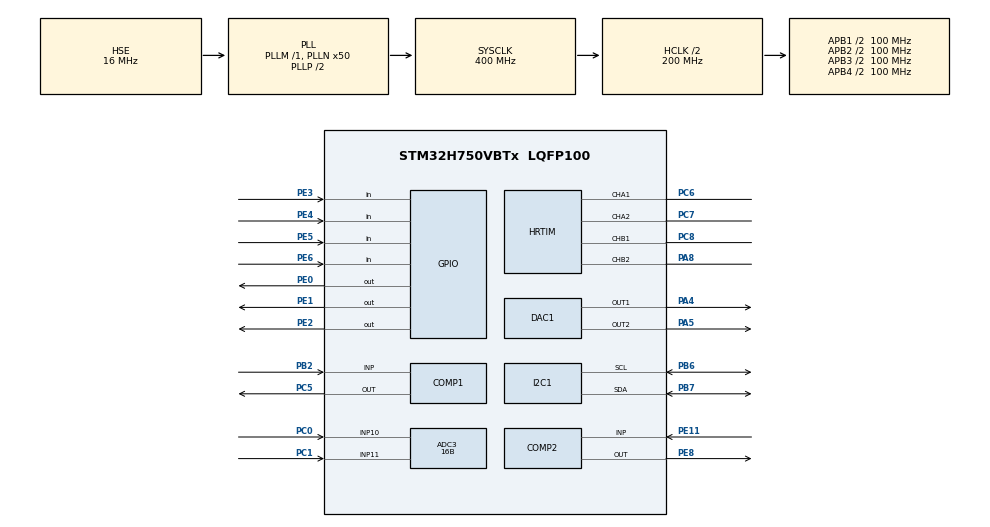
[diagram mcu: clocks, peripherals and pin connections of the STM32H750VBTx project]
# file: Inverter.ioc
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ADC3.Channel-0\#ChannelRegularConversion=ADC_CHANNEL_11
ADC3.Channel-1\#ChannelRegularConversion=ADC_CHANNEL_10
ADC3.ClockPrescaler=ADC_CLOCK_ASYNC_DIV1
ADC3.ClockPrescalerADC3=ADC_CLOCK_ASYNC_DIV1
ADC3.ContinuousConvMode=DISABLE
ADC3.ConversionDataManagement=ADC_CONVERSIONDATA_DMA_CIRCULAR
ADC3.DiscontinuousConvMode=DISABLE
ADC3.EOCSelection=ADC_EOC_SEQ_CONV
ADC3.ExternalTrigConv=ADC_EXTERNALTRIG_T2_TRGO
ADC3.NbrOfConversion=2
ADC3.NbrOfConversionFlag=1
ADC3.OffsetNumber-0\#ChannelRegularConversion=ADC_OFFSET_NONE
ADC3.OffsetNumber-1\#ChannelRegularConversion=ADC_OFFSET_NONE
ADC3.OffsetSignedSaturation-0\#ChannelRegularConversion=DISABLE
ADC3.OffsetSignedSaturation-1\#ChannelRegularConversion=DISABLE
ADC3.Overrun=ADC_OVR_DATA_OVERWRITTEN
ADC3.Rank-0\#ChannelRegularConversion=1
ADC3.Rank-1\#ChannelRegularConversion=2
ADC3.Resolution=ADC_RESOLUTION_16B
ADC3.SamplingTime-0\#ChannelRegularConversion=ADC_SAMPLETIME_810CYCLES_5
ADC3.SamplingTime-1\#ChannelRegularConversion=ADC_SAMPLETIME_810CYCLES_5
COMP1.Hysteresis=COMP_HYSTERESIS_LOW
COMP1.Mode=COMP_POWERMODE_HIGHSPEED
COMP1.TriggerMode=COMP_TRIGGERMODE_NONE
COMP2.Hysteresis=COMP_HYSTERESIS_LOW
CORTEX_M7.CPU_DCache=Disabled
CORTEX_M7.CPU_ICache=Disabled
DAC1.DAC_Channel-DAC_OUT1_ExtAndInt=DAC_CHANNEL_1
DAC1.DAC_Channel-DAC_OUT2_ExtAndInt=DAC_CHANNEL_2
Dma.ADC3.0.Direction=DMA_PERIPH_TO_MEMORY
Dma.ADC3.0.EventEnable=DISABLE
Dma.ADC3.0.FIFOMode=DMA_FIFOMODE_DISABLE
Dma.ADC3.0.Instance=DMA1_Stream0
Dma.ADC3.0.MemDataAlignment=DMA_MDATAALIGN_HALFWORD
Dma.ADC3.0.MemInc=DMA_MINC_ENABLE
Dma.ADC3.0.Mode=DMA_CIRCULAR
Dma.ADC3.0.PeriphDataAlignment=DMA_PDATAALIGN_HALFWORD
Dma.ADC3.0.PeriphInc=DMA_PINC_DISABLE
Dma.ADC3.0.Polarity=HAL_DMAMUX_REQ_GEN_RISING
Dma.ADC3.0.Priority=DMA_PRIORITY_LOW
Dma.ADC3.0.RequestNumber=1
Dma.ADC3.0.SignalID=NONE
Dma.ADC3.0.SyncEnable=DISABLE
Dma.ADC3.0.SyncPolarity=HAL_DMAMUX_SYNC_NO_EVENT
Dma.ADC3.0.SyncRequestNumber=1
Dma.ADC3.0.SyncSignalID=NONE
Dma.Request0=ADC3
HRTIM.CaptureUnit1-Output_TA1TA2=HRTIM_CAPTUREUNIT_1
HRTIM.CaptureUnit1-Output_TB1TB2=HRTIM_CAPTUREUNIT_1
HRTIM.CaptureUnit2-Output_TA1TA2=__NULL
HRTIM.CompareUnit1-MasterTimer=HRTIM_COMPAREUNIT_1
HRTIM.CompareUnit1-Output_TA1TA2=HRTIM_COMPAREUNIT_1
HRTIM.CompareUnit1-Output_TB1TB2=HRTIM_COMPAREUNIT_1
HRTIM.CompareUnit2-MasterTimer=HRTIM_COMPAREUNIT_2
HRTIM.CompareUnit2-Output_TA1TA2=HRTIM_COMPAREUNIT_2
HRTIM.CompareUnit2-Output_TB1TB2=HRTIM_COMPAREUNIT_2
HRTIM.CompareUnit3-Output_TA1TA2=HRTIM_COMPAREUNIT_3
HRTIM.CompareUnit3-Output_TB1TB2=HRTIM_COMPAREUNIT_3
HRTIM.CompareValue1-MasterTimer=100
HRTIM.CompareValue1-Output_TA1TA2=100
HRTIM.CompareValue1-Output_TB1TB2=150
HRTIM.CompareValue2-MasterTimer=100
HRTIM.CompareValue2-Output_TA1TA2=300
HRTIM.CompareValue2-Output_TB1TB2=350
HRTIM.CompareValue3-Output_TA1TA2=30
HRTIM.CompareValue3-Output_TB1TB2=30
HRTIM.DeadTimeInsertion-Output_TA1TA2=HRTIM_TIMDEADTIMEINSERTION_ENABLED
HRTIM.DeadTimeInsertion-Output_TB1TB2=HRTIM_TIMDEADTIMEINSERTION_ENABLED
HRTIM.Event1-Output_TA1TA2=__NULL
HRTIM.Event1-Output_TB1TB2=__NULL
HRTIM.Event2-Output_TA1TA2=HRTIM_EVENT_2
HRTIM.Event7-Output_TA1TA2=__NULL
HRTIM.Event_EEV1=HRTIM_EVENT_1
HRTIM.Event_EEV2=HRTIM_EVENT_2
HRTIM.Event_EEV3=__NULL
HRTIM.Event_EEV6=__NULL
HRTIM.Event_EEV7=__NULL
HRTIM.FallingValue-Output_TA1TA2=4
HRTIM.FallingValue-Output_TB1TB2=4
HRTIM.Filter2-Output_TA1TA2=HRTIM_TIMEVENTFILTER_WINDOWINGCMP3
HRTIM.InterruptRequests1-Output_TA1TA2=HRTIM_TIM_IT_CPT1
HRTIM.InterruptRequests1-Output_TB1TB2=HRTIM_TIM_IT_CPT1
HRTIM.InterruptRequests1_Master=HRTIM_MASTER_IT_MREP
HRTIM.NumberDMARequests_TA=0
HRTIM.NumberInterruptRequests-Output_TA1TA2=1
HRTIM.NumberInterruptRequests-Output_TB1TB2=1
HRTIM.NumberInterruptRequests_Master-MasterTimer=1
HRTIM.NumberResetSource1-Output_TA1TA2=1
HRTIM.NumberResetSource1-Output_TB1TB2=1
HRTIM.NumberResetTrigger-Output_TA1TA2=1
HRTIM.NumberResetTrigger-Output_TB1TB2=1
HRTIM.NumberSetSource1-Output_TA1TA2=1
HRTIM.NumberSetSource1-Output_TB1TB2=1
HRTIM.NumberTriggerSource_Captureconfig1-Output_TA1TA2=1
HRTIM.NumberTriggerSource_Captureconfig1-Output_TB1TB2=1
HRTIM.NumberUpdateTrigger-Output_TA1TA2=0
HRTIM.Periode_MASTER=400
HRTIM.Periode_TA=400
HRTIM.Periode_TB=400
HRTIM.PreloadEnable-MasterTimer=HRTIM_PRELOAD_DISABLED
HRTIM.PreloadEnable-Output_TA1TA2=HRTIM_PRELOAD_ENABLED
HRTIM.PreloadEnable-Output_TB1TB2=HRTIM_PRELOAD_ENABLED
HRTIM.PrescalerDead-Output_TA1TA2=HRTIM_TIMDEADTIME_PRESCALERRATIO_DIV1
HRTIM.PrescalerDead-Output_TB1TB2=HRTIM_TIMDEADTIME_PRESCALERRATIO_DIV1
HRTIM.RepetitionUpdate-MasterTimer=HRTIM_UPDATEONREPETITION_ENABLED
HRTIM.RepetitionUpdate-Output_TA1TA2=HRTIM_UPDATEONREPETITION_ENABLED
HRTIM.RepetitionUpdate-Output_TB1TB2=HRTIM_UPDATEONREPETITION_ENABLED
HRTIM.ResetOutput1_Source1-Output_TA1TA2=HRTIM_OUTPUTRESET_TIMCMP2
HRTIM.ResetOutput1_Source1-Output_TB1TB2=HRTIM_OUTPUTRESET_TIMCMP2
HRTIM.ResetTrigger1-Output_TA1TA2=HRTIM_TIMRESETTRIGGER_MASTER_CMP1
HRTIM.ResetTrigger1-Output_TB1TB2=HRTIM_TIMRESETTRIGGER_MASTER_CMP2
HRTIM.RisingValue-Output_TA1TA2=4
HRTIM.RisingValue-Output_TB1TB2=4
HRTIM.Sensitivity_EEV1=HRTIM_EVENTSENSITIVITY_FALLINGEDGE
HRTIM.Sensitivity_EEV2=HRTIM_EVENTSENSITIVITY_FALLINGEDGE
HRTIM.SetOutput1_Source1-Output_TA1TA2=HRTIM_OUTPUTSET_TIMCMP1
HRTIM.SetOutput1_Source1-Output_TB1TB2=HRTIM_OUTPUTSET_TIMCMP1
HRTIM.TriggerCapture1_Source1-Output_TA1TA2=HRTIM_CAPTURETRIGGER_EEV_2
HRTIM.TriggerCapture1_Source1-Output_TB1TB2=HRTIM_CAPTURETRIGGER_EEV_1
I2C1.Timing=0x10C0ECFF
Mcu.Family=STM32H7
Mcu.Name=STM32H750VBTx
Mcu.Package=LQFP100
NVIC.DMA1_Stream0_IRQn=true\:2\:0\:true\:false\:true\:false\:true\:true
NVIC.HRTIM1_Master_IRQn=true\:1\:0\:true\:false\:true\:true\:true\:true
NVIC.HRTIM1_TIMA_IRQn=true\:0\:0\:false\:false\:true\:true\:true\:true
NVIC.HRTIM1_TIMB_IRQn=true\:0\:0\:false\:false\:true\:true\:true\:true
NVIC.PriorityGroup=NVIC_PRIORITYGROUP_4
NVIC.TIM2_IRQn=true\:14\:0\:true\:false\:true\:true\:true\:true
PA13\ (JTMS/SWDIO).Mode=Serial_Wire
PA13\ (JTMS/SWDIO).Signal=DEBUG_JTMS-SWDIO
PA14\ (JTCK/SWCLK).Mode=Serial_Wire
PA14\ (JTCK/SWCLK).Signal=DEBUG_JTCK-SWCLK
PA4.Signal=COMP_DAC11_group
PA5.Signal=COMP_DAC12_group
PA8.Mode=Output_TB1TB2
PA8.Signal=HRTIM_CHB2
PB2.Mode=INP
PB2.Signal=COMP1_INP
PB6.Mode=I2C
PB6.Signal=I2C1_SCL
PB7.Mode=I2C
PB7.Signal=I2C1_SDA
PC0.Signal=ADCx_INP10
PC1.Signal=ADCx_INP11
PC5.Mode=ExternalOutput
PC5.Signal=COMP1_OUT
PC6.Mode=Output_TA1TA2
PC6.Signal=HRTIM_CHA1
PC7.Mode=Output_TA1TA2
PC7.Signal=HRTIM_CHA2
PC8.Mode=Output_TB1TB2
PC8.Signal=HRTIM_CHB1
PE0.PinState=GPIO_PIN_SET
PE0.Signal=GPIO_Output
PE1.PinState=GPIO_PIN_SET
PE1.Signal=GPIO_Output
PE11.Mode=INP
PE11.Signal=COMP2_INP
PE2.GPIO_ModeDefaultOutputPP=GPIO_MODE_OUTPUT_PP
PE2.PinState=GPIO_PIN_SET
PE2.Signal=GPIO_Output
PE3.GPIO_PuPd=GPIO_PULLUP
PE3.Signal=GPIO_Input
PE4.GPIO_PuPd=GPIO_PULLUP
PE4.Signal=GPIO_Input
PE5.GPIO_PuPd=GPIO_PULLUP
PE5.Signal=GPIO_Input
PE6.GPIO_PuPd=GPIO_PULLUP
PE6.Signal=GPIO_Input
PE8.Mode=ExternalOutput
PE8.Signal=COMP2_OUT
PH0-OSC_IN\ (PH0).Mode=HSE-External-Oscillator
PH0-OSC_IN\ (PH0).Signal=RCC_OSC_IN
PH1-OSC_OUT\ (PH1).Mode=HSE-External-Oscillator
PH1-OSC_OUT\ (PH1).Signal=RCC_OSC_OUT
ProjectManager.HeapSize=0x200
ProjectManager.StackSize=0x400
ProjectManager.TargetToolchain=MDK-ARM V5.27
RCC.ADCFreq_Value=30000000
RCC.APB1Freq_Value=100000000
RCC.APB2Freq_Value=100000000
RCC.APB3Freq_Value=100000000
RCC.APB4Freq_Value=100000000
RCC.CortexFreq_Value=400000000
RCC.D1PPRE=RCC_APB3_DIV2
RCC.D2PPRE1=RCC_APB1_DIV2
RCC.D2PPRE2=RCC_APB2_DIV2
RCC.D3PPRE=RCC_APB4_DIV2
RCC.DIVM1=1
RCC.DIVM2=1
RCC.DIVM3=1
RCC.DIVN1=50
RCC.DIVN2=9
RCC.DIVN3=9
RCC.DIVP2=5
RCC.HCLKFreq_Value=200000000
RCC.HPRE=RCC_HCLK_DIV2
RCC.HRTIMCLockSelection=RCC_HRTIM1CLK_CPUCLK
RCC.HSE_VALUE=16000000
RCC.PLL2FRACN=3072
RCC.PLL3FRACN=3072
RCC.PLLFRACN=0
RCC.PLLSourceVirtual=RCC_PLLSOURCE_HSE
RCC.SYSCLKFreq_VALUE=400000000
RCC.SYSCLKSource=RCC_SYSCLKSOURCE_PLLCLK
RCC.USBFreq_Value=400000000
SH.ADCx_INP10.0=ADC3_INP10,IN10-Single-Ended
SH.ADCx_INP11.0=ADC3_INP11,IN11-Single-Ended
SH.COMP_DAC11_group.0=DAC1_OUT1,DAC_OUT1_ExtAndInt
SH.COMP_DAC12_group.0=DAC1_OUT2,DAC_OUT2_ExtAndInt
TIM2.AutoReloadPreload=TIM_AUTORELOAD_PRELOAD_ENABLE
TIM2.Period=1000-1
TIM2.Prescaler=400-1
TIM2.TIM_MasterOutputTrigger=TIM_TRGO_UPDATE
TIM2.TIM_MasterSlaveMode=TIM_MASTERSLAVEMODE_DISABLE
VP_COMP1_VS_DACOUT1.Mode=INM_DACOUT1
VP_COMP2_VS_DACOUT2.Mode=INM_DACOUT2
VP_HRTIM_VS_hrtimMasterTimerNoOutput.Mode=MasterTimer
VP_TIM2_VS_ClockSourceINT.Mode=Internal
board=custom

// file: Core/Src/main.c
/* USER CODE BEGIN Header */
/**
  ******************************************************************************
  * @file           : main.c
  * @brief          : Main program body
  ******************************************************************************
  * @attention
  *
  * Copyright (c) 2024 STMicroelectronics.
  * All rights reserved.
  *
  * This software is licensed under terms that can be found in the LICENSE file
  * in the root directory of this software component.
  * If no LICENSE file comes with this software, it is provided AS-IS.
  *
  ******************************************************************************
  */
/* USER CODE END Header */
#include "main.h"
#include "adc.h"
#include "comp.h"
#include "dac.h"
#include "dma.h"
#include "hrtim.h"
#include "i2c.h"
#include "tim.h"
#include "gpio.h"

/* USER CODE BEGIN Includes */
#include "function.h"
#include "key.h"
/* USER CODE END Includes */

void SystemClock_Config(void);

int main(void)
{

  /* MCU Configuration--------------------------------------------------------*/

  /* Reset of all peripherals, Initializes the Flash interface and the Systick. */
  HAL_Init();

  /* Configure the system clock */
  SystemClock_Config();

  /* Initialize all configured peripherals */
  MX_GPIO_Init();
  MX_DMA_Init();
  MX_TIM2_Init();
  MX_DAC1_Init();
  MX_COMP1_Init();
  MX_HRTIM_Init();
  MX_ADC3_Init();
  MX_I2C1_Init();
  MX_COMP2_Init();
  /* USER CODE BEGIN 2 */

	OLED_Init(); //OLED初始化

	KEY_Init(); //按键初始化

	Signal_Init();

	HAL_COMP_Start(&hcomp1);
	HAL_COMP_Start(&hcomp2);

	HAL_DAC_Start(&hdac1,DAC_CHANNEL_1);
	HAL_DAC_Start(&hdac1,DAC_CHANNEL_2);
	HAL_DAC_SetValue(&hdac1,DAC_CHANNEL_1,DAC_ALIGN_12B_R,300);	//设置通道输出的值
	HAL_DAC_SetValue(&hdac1,DAC_CHANNEL_2,DAC_ALIGN_12B_R,300);	//设置通道输出的值
	HAL_Delay(10);

	HAL_ADCEx_Calibration_Start(&hadc3,ADC_CALIB_OFFSET_LINEARITY,ADC_SINGLE_ENDED);
	HAL_ADC_Start_DMA(&hadc3, (uint32_t *)adc3_data, ADC3_BUFFER_SIZE);

	HAL_HRTIM_WaveformCounterStart(&hhrtim, HRTIM_TIMERID_TIMER_A|HRTIM_TIMERID_TIMER_B|HRTIM_TIMERID_TIMER_C);

	HAL_TIM_Base_Start_IT(&htim2); //1000Hz
	HAL_HRTIM_WaveformCounterStart_IT(&hhrtim, HRTIM_TIMERID_MASTER);
	HAL_HRTIM_WaveformCounterStart_IT(&hhrtim, HRTIM_TIMERID_TIMER_A|HRTIM_TIMERID_TIMER_B);
  /* USER CODE END 2 */

  /* Infinite loop */
  while (1)
  {

    /* USER CODE BEGIN 3 */
		if(OLEDShowCnt>200){
			OLEDShowCnt=0;
			OLED_SHOW();
		}
  }
  /* USER CODE END 3 */
}

void SystemClock_Config(void)
{
  RCC_OscInitTypeDef RCC_OscInitStruct = {0};
  RCC_ClkInitTypeDef RCC_ClkInitStruct = {0};

  /** Supply configuration update enable
  */
  HAL_PWREx_ConfigSupply(PWR_LDO_SUPPLY);

  /** Configure the main internal regulator output voltage
  */
  __HAL_PWR_VOLTAGESCALING_CONFIG(PWR_REGULATOR_VOLTAGE_SCALE1);

  while(!__HAL_PWR_GET_FLAG(PWR_FLAG_VOSRDY)) {}

  /** Initializes the RCC Oscillators according to the specified parameters
  * in the RCC_OscInitTypeDef structure.
  */
  RCC_OscInitStruct.OscillatorType = RCC_OSCILLATORTYPE_HSE;
  RCC_OscInitStruct.HSEState = RCC_HSE_ON;
  RCC_OscInitStruct.PLL.PLLState = RCC_PLL_ON;
  RCC_OscInitStruct.PLL.PLLSource = RCC_PLLSOURCE_HSE;
  RCC_OscInitStruct.PLL.PLLM = 1;
  RCC_OscInitStruct.PLL.PLLN = 50;
  RCC_OscInitStruct.PLL.PLLP = 2;
  RCC_OscInitStruct.PLL.PLLQ = 2;
  RCC_OscInitStruct.PLL.PLLR = 2;
  RCC_OscInitStruct.PLL.PLLRGE = RCC_PLL1VCIRANGE_3;
  RCC_OscInitStruct.PLL.PLLVCOSEL = RCC_PLL1VCOWIDE;
  RCC_OscInitStruct.PLL.PLLFRACN = 0;
  if (HAL_RCC_OscConfig(&RCC_OscInitStruct) != HAL_OK)
  {
    Error_Handler();
  }

  /** Initializes the CPU, AHB and APB buses clocks
  */
  RCC_ClkInitStruct.ClockType = RCC_CLOCKTYPE_HCLK|RCC_CLOCKTYPE_SYSCLK
                              |RCC_CLOCKTYPE_PCLK1|RCC_CLOCKTYPE_PCLK2
                              |RCC_CLOCKTYPE_D3PCLK1|RCC_CLOCKTYPE_D1PCLK1;
  RCC_ClkInitStruct.SYSCLKSource = RCC_SYSCLKSOURCE_PLLCLK;
  RCC_ClkInitStruct.SYSCLKDivider = RCC_SYSCLK_DIV1;
  RCC_ClkInitStruct.AHBCLKDivider = RCC_HCLK_DIV2;
  RCC_ClkInitStruct.APB3CLKDivider = RCC_APB3_DIV2;
  RCC_ClkInitStruct.APB1CLKDivider = RCC_APB1_DIV2;
  RCC_ClkInitStruct.APB2CLKDivider = RCC_APB2_DIV2;
  RCC_ClkInitStruct.APB4CLKDivider = RCC_APB4_DIV2;

  if (HAL_RCC_ClockConfig(&RCC_ClkInitStruct, FLASH_LATENCY_2) != HAL_OK)
  {
    Error_Handler();
  }
}

void Error_Handler(void)
{
  __disable_irq();
  while (1)
  {
  }
}
